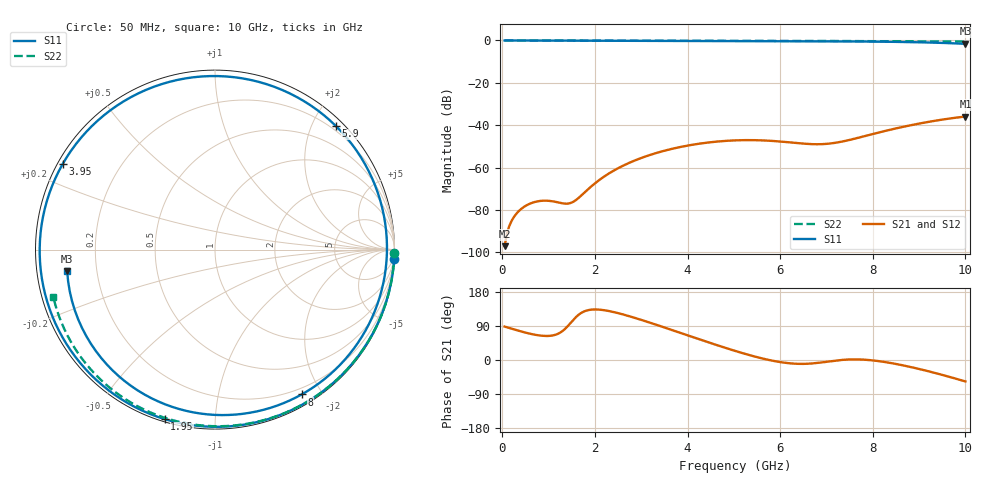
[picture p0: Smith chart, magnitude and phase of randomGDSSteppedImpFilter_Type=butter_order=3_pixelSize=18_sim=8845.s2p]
! freq	dB(S11)	phase(S11)	dB(S12)	phase(S12)
!  dB(S21)	phase(S21)	dB(S22)	phase(S22)
!S-par simulation data
#  GHz  S  DB  R 50
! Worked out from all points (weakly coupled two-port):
!   200 points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, 50 MHz to 10 GHz, reference 50 ohm
!   highest |S21| = -35.89 dB at 10 GHz (marker M1); lowest = -97.1 dB at 50 MHz (marker M2)
!   lowest |S11| = -1.6 dB at 10 GHz (marker M3), VSWR 10.94, Z = 4.6 - j3.63 ohm
!   |S11| at or under -10 dB: nowhere
!   |S22| runs from -0.5 to 0.0 dB; largest |S21 - S12| = 0
!   S11 on the Smith chart (normalised r, x): 50 MHz: 0, -40; 1.95 GHz: 0.01, -0.75; 3.95 GHz: 0.01, +0.26; 5.9 GHz: 0.12, +2.38; 8 GHz: 0.13, -1.76; 10 GHz: 0.09, -0.07
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0.05  -0.00 -2.9  -97.09 88.2  -97.09 88.2  -0.00 -0.9
0.35  -0.03 -19.8  -80.66 77.3  -80.66 77.3  -0.01 -6.6
0.5  -0.04 -28.2  -78.10 72.3  -78.10 72.3  -0.01 -9.4
0.95  -0.07 -53.1  -75.62 63.4  -75.62 63.4  -0.02 -17.8
1.45  -0.10 -80.2  -76.88 94.4  -76.88 94.4  -0.03 -27.0
1.75  -0.12 -96.1  -72.29 127.2  -72.29 127.2  -0.04 -32.5
1.95  -0.13 -106.5  -68.36 133.2  -68.36 133.2  -0.05 -36.1
2.7  -0.17 -145.0  -58.16 117.1  -58.16 117.1  -0.06 -49.4
3.4  -0.20 179.2  -52.64 90.0  -52.64 90.0  -0.08 -61.5
3.95  -0.23 150.7  -49.83 67.2  -49.83 67.2  -0.10 -70.8
4.55  -0.27 118.8  -47.91 42.6  -47.91 42.6  -0.12 -80.6
5.05  -0.29 91.7  -47.14 23.2  -47.14 23.2  -0.14 -88.6
5.45  -0.31 69.9  -47.06 9.2  -47.06 9.2  -0.15 -94.9
5.9  -0.33 45.6  -47.53 -3.4  -47.53 -3.4  -0.18 -101.9
6.7  -0.37 3.7  -48.94 -9.0  -48.94 -9.0  -0.22 -114.1
7.3  -0.42 -25.9  -47.89 -0.1  -47.89 -0.1  -0.27 -123.0
8  -0.53 -59.1  -44.16 -1.1  -44.16 -1.1  -0.32 -133.4
8.35  -0.62 -75.6  -42.27 -7.1  -42.27 -7.1  -0.36 -138.6
8.8  -0.77 -97.6  -40.10 -18.0  -40.10 -18.0  -0.40 -145.3
9.2  -0.96 -118.7  -38.44 -29.7  -38.44 -29.7  -0.45 -151.3
9.6  -1.23 -142.8  -37.03 -42.6  -37.03 -42.6  -0.50 -157.4
10  -1.59 -171.6  -35.89 -56.6  -35.89 -56.6  -0.55 -163.6
